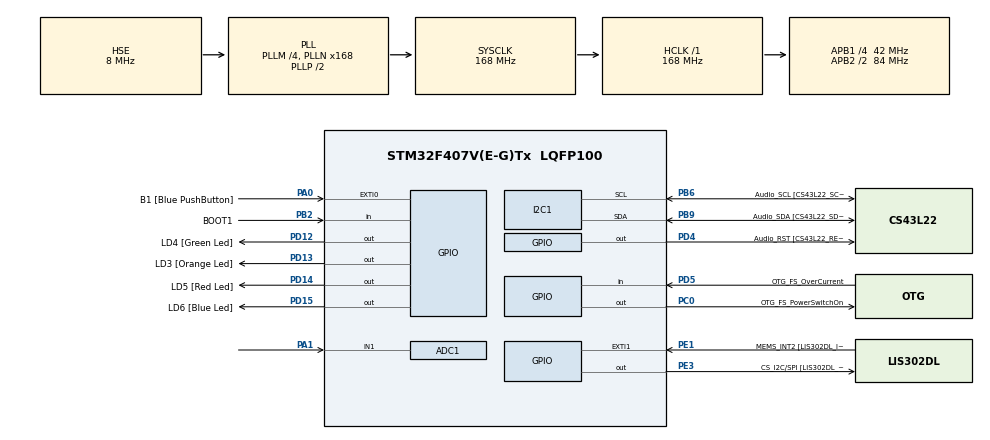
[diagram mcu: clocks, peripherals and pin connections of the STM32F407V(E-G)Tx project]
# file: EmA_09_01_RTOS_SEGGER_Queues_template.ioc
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ADC1.Channel-0\#ChannelRegularConversion=ADC_CHANNEL_1
ADC1.ContinuousConvMode=ENABLE
ADC1.EOCSelection=ADC_EOC_SEQ_CONV
ADC1.NbrOfConversionFlag=1
ADC1.Rank-0\#ChannelRegularConversion=1
ADC1.SamplingTime-0\#ChannelRegularConversion=ADC_SAMPLETIME_3CYCLES
ADC1.master=1
Mcu.Family=STM32F4
Mcu.Name=STM32F407V(E-G)Tx
Mcu.Package=LQFP100
NVIC.EXTI0_IRQn=true\:15\:0\:true\:false\:true\:true\:true\:true
NVIC.PriorityGroup=NVIC_PRIORITYGROUP_4
NVIC.TIM6_DAC_IRQn=true\:0\:0\:false\:false\:true\:false\:true\:true
NVIC.TimeBase=TIM6_DAC_IRQn
NVIC.TimeBaseIP=TIM6
PA0-WKUP.GPIO_Label=B1 [Blue PushButton]
PA0-WKUP.GPIO_ModeDefaultEXTI=GPIO_MODE_IT_RISING
PA0-WKUP.GPIO_PuPd=GPIO_NOPULL
PA0-WKUP.Signal=GPXTI0
PA1.Signal=ADCx_IN1
PA10.GPIO_Label=OTG_FS_ID
PA10.GPIO_Mode=GPIO_MODE_AF_PP
PA10.GPIO_PuPd=GPIO_NOPULL
PA10.GPIO_Speed=GPIO_SPEED_FREQ_LOW
PA10.Signal=USB_OTG_FS_ID
PA11.GPIO_Label=OTG_FS_DM
PA11.GPIO_Mode=GPIO_MODE_AF_PP
PA11.GPIO_PuPd=GPIO_NOPULL
PA11.GPIO_Speed=GPIO_SPEED_FREQ_LOW
PA11.Signal=USB_OTG_FS_DM
PA12.GPIO_Label=OTG_FS_DP
PA12.GPIO_Mode=GPIO_MODE_AF_PP
PA12.GPIO_PuPd=GPIO_NOPULL
PA12.GPIO_Speed=GPIO_SPEED_FREQ_LOW
PA12.Signal=USB_OTG_FS_DP
PA13.GPIO_Label=SWDIO
PA13.Mode=Serial_Wire
PA13.Signal=SYS_JTMS-SWDIO
PA14.GPIO_Label=SWCLK
PA14.Mode=Serial_Wire
PA14.Signal=SYS_JTCK-SWCLK
PA4.GPIO_Label=I2S3_WS [CS43L22_LRCK]
PA4.GPIO_Mode=GPIO_MODE_AF_PP
PA4.GPIO_PuPd=GPIO_NOPULL
PA4.GPIO_Speed=GPIO_SPEED_FREQ_LOW
PA4.Signal=I2S3_WS
PA5.GPIO_Label=SPI1_SCK [LIS302DL_SCL/SPC]
PA5.GPIO_Mode=GPIO_MODE_AF_PP
PA5.GPIO_PuPd=GPIO_NOPULL
PA5.GPIO_Speed=GPIO_SPEED_FREQ_LOW
PA5.Signal=SPI1_SCK
PA6.GPIO_Label=SPI1_MISO [LIS302DL_SDO]
PA6.GPIO_Mode=GPIO_MODE_AF_PP
PA6.GPIO_PuPd=GPIO_NOPULL
PA6.GPIO_Speed=GPIO_SPEED_FREQ_LOW
PA6.Signal=SPI1_MISO
PA7.GPIO_Label=SPI1_MOSI [LIS302DL_SDA/SDI/SDO]
PA7.GPIO_Mode=GPIO_MODE_AF_PP
PA7.GPIO_PuPd=GPIO_NOPULL
PA7.GPIO_Speed=GPIO_SPEED_FREQ_LOW
PA7.Signal=SPI1_MOSI
PA9.GPIO_Label=VBUS_FS
PA9.GPIO_Mode=GPIO_MODE_INPUT
PA9.GPIO_PuPd=GPIO_NOPULL
PA9.Signal=USB_OTG_FS_VBUS
PB10.GPIO_Label=CLK_IN [MP45DT02_CLK]
PB10.GPIO_Mode=GPIO_MODE_AF_PP
PB10.GPIO_PuPd=GPIO_NOPULL
PB10.GPIO_Speed=GPIO_SPEED_FREQ_LOW
PB10.Signal=I2S2_CK
PB2.GPIO_Label=BOOT1
PB2.GPIO_Mode=GPIO_MODE_INPUT
PB2.GPIO_PuPd=GPIO_NOPULL
PB2.Signal=GPIO_Input
PB3.GPIO_Label=SWO
PB3.Signal=SYS_JTDO-SWO
PB6.GPIO_Label=Audio_SCL [CS43L22_SCL]
PB6.GPIO_Mode=GPIO_MODE_AF_OD
PB6.GPIO_Pu=GPIO_PULLUP
PB6.GPIO_PuPd=GPIO_NOPULL
PB6.GPIO_Speed=GPIO_SPEED_FREQ_LOW
PB6.Mode=I2C
PB6.Signal=I2C1_SCL
PB9.GPIO_Label=Audio_SDA [CS43L22_SDA]
PB9.GPIO_Mode=GPIO_MODE_AF_OD
PB9.GPIO_Pu=GPIO_PULLUP
PB9.GPIO_PuPd=GPIO_NOPULL
PB9.GPIO_Speed=GPIO_SPEED_FREQ_LOW
PB9.Mode=I2C
PB9.Signal=I2C1_SDA
PC0.GPIO_Label=OTG_FS_PowerSwitchOn
PC0.GPIO_PuPd=GPIO_NOPULL
PC0.GPIO_Speed=GPIO_SPEED_FREQ_LOW
PC0.PinState=GPIO_PIN_SET
PC0.Signal=GPIO_Output
PC10.GPIO_Label=I2S3_SCK [CS43L22_SCLK]
PC10.GPIO_Mode=GPIO_MODE_AF_PP
PC10.GPIO_PuPd=GPIO_NOPULL
PC10.GPIO_Speed=GPIO_SPEED_FREQ_LOW
PC10.Signal=I2S3_CK
PC12.GPIO_Label=I2S3_SD [CS43L22_SDIN]
PC12.GPIO_Mode=GPIO_MODE_AF_PP
PC12.GPIO_PuPd=GPIO_NOPULL
PC12.GPIO_Speed=GPIO_SPEED_FREQ_LOW
PC12.Signal=I2S3_SD
PC14-OSC32_IN.GPIO_Label=PC14-OSC32_IN
PC14-OSC32_IN.Mode=LSE-External-Oscillator
PC14-OSC32_IN.Signal=RCC_OSC32_IN
PC15-OSC32_OUT.GPIO_Label=PC15-OSC32_OUT
PC15-OSC32_OUT.Mode=LSE-External-Oscillator
PC15-OSC32_OUT.Signal=RCC_OSC32_OUT
PC3.GPIO_Label=PDM_OUT [MP45DT02_DOUT]
PC3.GPIO_Mode=GPIO_MODE_AF_PP
PC3.GPIO_PuPd=GPIO_NOPULL
PC3.GPIO_Speed=GPIO_SPEED_FREQ_LOW
PC3.Signal=I2S2_SD
PC7.GPIO_Label=I2S3_MCK [CS43L22_MCLK]
PC7.GPIO_Mode=GPIO_MODE_AF_PP
PC7.GPIO_PuPd=GPIO_NOPULL
PC7.GPIO_Speed=GPIO_SPEED_FREQ_LOW
PC7.Signal=I2S3_MCK
PD12.GPIO_Label=LD4 [Green Led]
PD12.GPIO_PuPd=GPIO_NOPULL
PD12.GPIO_Speed=GPIO_SPEED_FREQ_LOW
PD12.Signal=GPIO_Output
PD13.GPIO_Label=LD3 [Orange Led]
PD13.GPIO_PuPd=GPIO_NOPULL
PD13.GPIO_Speed=GPIO_SPEED_FREQ_LOW
PD13.Signal=GPIO_Output
PD14.GPIO_Label=LD5 [Red Led]
PD14.GPIO_PuPd=GPIO_NOPULL
PD14.GPIO_Speed=GPIO_SPEED_FREQ_LOW
PD14.Signal=GPIO_Output
PD15.GPIO_Label=LD6 [Blue Led]
PD15.GPIO_PuPd=GPIO_NOPULL
PD15.GPIO_Speed=GPIO_SPEED_FREQ_LOW
PD15.Signal=GPIO_Output
PD4.GPIO_Label=Audio_RST [CS43L22_RESET]
PD4.GPIO_PuPd=GPIO_NOPULL
PD4.GPIO_Speed=GPIO_SPEED_FREQ_LOW
PD4.Signal=GPIO_Output
PD5.GPIO_Label=OTG_FS_OverCurrent
PD5.GPIO_Mode=GPIO_MODE_INPUT
PD5.GPIO_PuPd=GPIO_NOPULL
PD5.Signal=GPIO_Input
PE1.GPIO_Label=MEMS_INT2 [LIS302DL_INT2]
PE1.GPIO_ModeDefaultEXTI=GPIO_MODE_EVT_RISING
PE1.GPIO_PuPd=GPIO_NOPULL
PE1.Signal=GPXTI1
PE3.GPIO_Label=CS_I2C/SPI [LIS302DL_CS_I2C/SPI]
PE3.GPIO_PuPd=GPIO_NOPULL
PE3.GPIO_Speed=GPIO_SPEED_FREQ_LOW
PE3.Signal=GPIO_Output
PH0-OSC_IN.GPIO_Label=PH0-OSC_IN
PH0-OSC_IN.Mode=HSE-External-Oscillator
PH0-OSC_IN.Signal=RCC_OSC_IN
PH1-OSC_OUT.GPIO_Label=PH1-OSC_OUT
PH1-OSC_OUT.Mode=HSE-External-Oscillator
PH1-OSC_OUT.Signal=RCC_OSC_OUT
ProjectManager.HeapSize=0x200
ProjectManager.StackSize=0x400
ProjectManager.TargetToolchain=STM32CubeIDE
RCC.48MHZClocksFreq_Value=48000000
RCC.AHBFreq_Value=168000000
RCC.APB1CLKDivider=RCC_HCLK_DIV4
RCC.APB1Freq_Value=42000000
RCC.APB1TimFreq_Value=84000000
RCC.APB2CLKDivider=RCC_HCLK_DIV2
RCC.APB2Freq_Value=84000000
RCC.APB2TimFreq_Value=168000000
RCC.CortexFreq_Value=168000000
RCC.HCLKFreq_Value=168000000
RCC.HSE_VALUE=8000000
RCC.HSI_VALUE=16000000
RCC.PLLI2SN=50
RCC.PLLM=4
RCC.PLLN=168
RCC.PLLQ=7
RCC.PLLSourceVirtual=RCC_PLLSOURCE_HSE
RCC.SYSCLKFreq_VALUE=168000000
RCC.SYSCLKSource=RCC_SYSCLKSOURCE_PLLCLK
RCC.VCOOutputFreq_Value=336000000
SH.ADCx_IN1.0=ADC1_IN1,IN1
VP_SYS_VS_tim6.Mode=TIM6
board=STM32F407G-DISC1

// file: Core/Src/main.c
/* USER CODE BEGIN Header */
/**
 ******************************************************************************
 * @file           : main.c
 * @brief          : Main program body
 ******************************************************************************
 * @attention
 *
 * <h2><center>&copy; Copyright (c) 2021 STMicroelectronics.
 * All rights reserved.</center></h2>
 *
 * This software component is licensed by ST under Ultimate Liberty license
 * SLA0044, the "License"; You may not use this file except in compliance with
 * the License. You may obtain a copy of the License at:
 *                             www.st.com/SLA0044
 *
 ******************************************************************************
 */
/* USER CODE END Header */
#include "main.h"

/* USER CODE BEGIN Includes */
#include "FreeRTOS.h"
#include "task.h"
#include "stdio.h"
/* USER CODE END Includes */

 ADC_HandleTypeDef hadc1;

I2C_HandleTypeDef hi2c1;

/* USER CODE BEGIN PV */
#define DWT_CTRL	(*(volatile uint32_t*) 0xE0001000)
LCD_Handle_t lcd_handle;
TaskHandle_t measure_task_handle;
TaskHandle_t process_task_handle;
TaskHandle_t print_task_handle;
TaskHandle_t control_task_handle;
QueueHandle_t xQueue1;
QueueHandle_t xQueue_print;
/* USER CODE END PV */

void SystemClock_Config(void);
static void MX_GPIO_Init(void);
static void MX_I2C1_Init(void);
static void MX_ADC1_Init(void);
/* USER CODE BEGIN PFP */
extern void SEGGER_UART_init(unsigned long baud);
/* USER CODE END PFP */

int main(void)
{
  /* USER CODE BEGIN 1 */

	BaseType_t status;
  /* USER CODE END 1 */

  /* MCU Configuration--------------------------------------------------------*/

  /* Reset of all peripherals, Initializes the Flash interface and the Systick. */
  HAL_Init();

  /* USER CODE BEGIN Init */
  xQueue1 = xQueueCreate( 10, sizeof( unsigned long ) );
  xQueue_print = xQueueCreate( 1, sizeof( char* ) );
  /* USER CODE END Init */

  /* Configure the system clock */
  SystemClock_Config();

  /* Initialize all configured peripherals */
  MX_GPIO_Init();
  MX_I2C1_Init();
  MX_ADC1_Init();
  /* USER CODE BEGIN 2 */

	lcd_handle.Slave_address = 0x4E;
	lcd_handle.i2c_handle = &hi2c1;
	lcd_handle.bg = 1;
	lcd_init(&lcd_handle);

	char* text = "Willkommen in Embedded Software!\0";
	uint32_t delayValue = 10;
	printText(&lcd_handle, text, delayValue);
	delayValue = 10;

	DWT_CTRL |= (1 << 0);

	//SEGGER_UART_init(460800);
	SEGGER_SYSVIEW_Conf();
	SEGGER_SYSVIEW_Start();

	status = xTaskCreate(measure_task_Handler,"Task-Measure",200, "Measure Task", 1, &measure_task_handle);
	configASSERT(status==pdPASS);

	status = xTaskCreate(process_task_Handler,"Task-Process",200, "Process measurements", 1, &process_task_handle);
	configASSERT(status==pdPASS);

	status = xTaskCreate(print_task_Handler,"Task-Print",200, "Print on display", 3, &print_task_handle);
	configASSERT(status==pdPASS);

	status = xTaskCreate(control_task_Handler,"Task-Control",200, NULL, 2, &control_task_handle);
	configASSERT(status==pdPASS);

	vTaskStartScheduler();
  /* USER CODE END 2 */

  /* Infinite loop */
	while (1)
	{

	}
}

void SystemClock_Config(void)
{
  RCC_OscInitTypeDef RCC_OscInitStruct = {0};
  RCC_ClkInitTypeDef RCC_ClkInitStruct = {0};

  /** Configure the main internal regulator output voltage
  */
  __HAL_RCC_PWR_CLK_ENABLE();
  __HAL_PWR_VOLTAGESCALING_CONFIG(PWR_REGULATOR_VOLTAGE_SCALE1);

  /** Initializes the RCC Oscillators according to the specified parameters
  * in the RCC_OscInitTypeDef structure.
  */
  RCC_OscInitStruct.OscillatorType = RCC_OSCILLATORTYPE_HSE;
  RCC_OscInitStruct.HSEState = RCC_HSE_ON;
  RCC_OscInitStruct.PLL.PLLState = RCC_PLL_ON;
  RCC_OscInitStruct.PLL.PLLSource = RCC_PLLSOURCE_HSE;
  RCC_OscInitStruct.PLL.PLLM = 4;
  RCC_OscInitStruct.PLL.PLLN = 168;
  RCC_OscInitStruct.PLL.PLLP = RCC_PLLP_DIV2;
  RCC_OscInitStruct.PLL.PLLQ = 7;
  if (HAL_RCC_OscConfig(&RCC_OscInitStruct) != HAL_OK)
  {
    Error_Handler();
  }

  /** Initializes the CPU, AHB and APB buses clocks
  */
  RCC_ClkInitStruct.ClockType = RCC_CLOCKTYPE_HCLK|RCC_CLOCKTYPE_SYSCLK
                              |RCC_CLOCKTYPE_PCLK1|RCC_CLOCKTYPE_PCLK2;
  RCC_ClkInitStruct.SYSCLKSource = RCC_SYSCLKSOURCE_PLLCLK;
  RCC_ClkInitStruct.AHBCLKDivider = RCC_SYSCLK_DIV1;
  RCC_ClkInitStruct.APB1CLKDivider = RCC_HCLK_DIV4;
  RCC_ClkInitStruct.APB2CLKDivider = RCC_HCLK_DIV2;

  if (HAL_RCC_ClockConfig(&RCC_ClkInitStruct, FLASH_LATENCY_5) != HAL_OK)
  {
    Error_Handler();
  }
}

static void MX_ADC1_Init(void)
{

  ADC_ChannelConfTypeDef sConfig = {0};

  /** Configure the global features of the ADC (Clock, Resolution, Data Alignment and number of conversion)
  */
  hadc1.Instance = ADC1;
  hadc1.Init.ClockPrescaler = ADC_CLOCK_SYNC_PCLK_DIV4;
  hadc1.Init.Resolution = ADC_RESOLUTION_12B;
  hadc1.Init.ScanConvMode = DISABLE;
  hadc1.Init.ContinuousConvMode = ENABLE;
  hadc1.Init.DiscontinuousConvMode = DISABLE;
  hadc1.Init.ExternalTrigConvEdge = ADC_EXTERNALTRIGCONVEDGE_NONE;
  hadc1.Init.ExternalTrigConv = ADC_SOFTWARE_START;
  hadc1.Init.DataAlign = ADC_DATAALIGN_RIGHT;
  hadc1.Init.NbrOfConversion = 1;
  hadc1.Init.DMAContinuousRequests = DISABLE;
  hadc1.Init.EOCSelection = ADC_EOC_SEQ_CONV;
  if (HAL_ADC_Init(&hadc1) != HAL_OK)
  {
    Error_Handler();
  }

  /** Configure for the selected ADC regular channel its corresponding rank in the sequencer and its sample time.
  */
  sConfig.Channel = ADC_CHANNEL_1;
  sConfig.Rank = 1;
  sConfig.SamplingTime = ADC_SAMPLETIME_3CYCLES;
  if (HAL_ADC_ConfigChannel(&hadc1, &sConfig) != HAL_OK)
  {
    Error_Handler();
  }

}

static void MX_I2C1_Init(void)
{

  hi2c1.Instance = I2C1;
  hi2c1.Init.ClockSpeed = 100000;
  hi2c1.Init.DutyCycle = I2C_DUTYCYCLE_2;
  hi2c1.Init.OwnAddress1 = 0;
  hi2c1.Init.AddressingMode = I2C_ADDRESSINGMODE_7BIT;
  hi2c1.Init.DualAddressMode = I2C_DUALADDRESS_DISABLE;
  hi2c1.Init.OwnAddress2 = 0;
  hi2c1.Init.GeneralCallMode = I2C_GENERALCALL_DISABLE;
  hi2c1.Init.NoStretchMode = I2C_NOSTRETCH_DISABLE;
  if (HAL_I2C_Init(&hi2c1) != HAL_OK)
  {
    Error_Handler();
  }

}

static void MX_GPIO_Init(void)
{
  GPIO_InitTypeDef GPIO_InitStruct = {0};

  /* GPIO Ports Clock Enable */
  __HAL_RCC_GPIOE_CLK_ENABLE();
  __HAL_RCC_GPIOC_CLK_ENABLE();
  __HAL_RCC_GPIOH_CLK_ENABLE();
  __HAL_RCC_GPIOA_CLK_ENABLE();
  __HAL_RCC_GPIOB_CLK_ENABLE();
  __HAL_RCC_GPIOD_CLK_ENABLE();

  /*Configure GPIO pin Output Level */
  HAL_GPIO_WritePin(CS_I2C_SPI_GPIO_Port, CS_I2C_SPI_Pin, GPIO_PIN_RESET);

  /*Configure GPIO pin Output Level */
  HAL_GPIO_WritePin(OTG_FS_PowerSwitchOn_GPIO_Port, OTG_FS_PowerSwitchOn_Pin, GPIO_PIN_SET);

  /*Configure GPIO pin Output Level */
  HAL_GPIO_WritePin(GPIOD, LD4_Pin|LD3_Pin|LD5_Pin|LD6_Pin
                          |Audio_RST_Pin, GPIO_PIN_RESET);

  /*Configure GPIO pin : CS_I2C_SPI_Pin */
  GPIO_InitStruct.Pin = CS_I2C_SPI_Pin;
  GPIO_InitStruct.Mode = GPIO_MODE_OUTPUT_PP;
  GPIO_InitStruct.Pull = GPIO_NOPULL;
  GPIO_InitStruct.Speed = GPIO_SPEED_FREQ_LOW;
  HAL_GPIO_Init(CS_I2C_SPI_GPIO_Port, &GPIO_InitStruct);

  /*Configure GPIO pin : OTG_FS_PowerSwitchOn_Pin */
  GPIO_InitStruct.Pin = OTG_FS_PowerSwitchOn_Pin;
  GPIO_InitStruct.Mode = GPIO_MODE_OUTPUT_PP;
  GPIO_InitStruct.Pull = GPIO_NOPULL;
  GPIO_InitStruct.Speed = GPIO_SPEED_FREQ_LOW;
  HAL_GPIO_Init(OTG_FS_PowerSwitchOn_GPIO_Port, &GPIO_InitStruct);

  /*Configure GPIO pin : PDM_OUT_Pin */
  GPIO_InitStruct.Pin = PDM_OUT_Pin;
  GPIO_InitStruct.Mode = GPIO_MODE_AF_PP;
  GPIO_InitStruct.Pull = GPIO_NOPULL;
  GPIO_InitStruct.Speed = GPIO_SPEED_FREQ_LOW;
  GPIO_InitStruct.Alternate = GPIO_AF5_SPI2;
  HAL_GPIO_Init(PDM_OUT_GPIO_Port, &GPIO_InitStruct);

  /*Configure GPIO pin : B1_Pin */
  GPIO_InitStruct.Pin = B1_Pin;
  GPIO_InitStruct.Mode = GPIO_MODE_IT_RISING;
  GPIO_InitStruct.Pull = GPIO_NOPULL;
  HAL_GPIO_Init(B1_GPIO_Port, &GPIO_InitStruct);

  /*Configure GPIO pin : I2S3_WS_Pin */
  GPIO_InitStruct.Pin = I2S3_WS_Pin;
  GPIO_InitStruct.Mode = GPIO_MODE_AF_PP;
  GPIO_InitStruct.Pull = GPIO_NOPULL;
  GPIO_InitStruct.Speed = GPIO_SPEED_FREQ_LOW;
  GPIO_InitStruct.Alternate = GPIO_AF6_SPI3;
  HAL_GPIO_Init(I2S3_WS_GPIO_Port, &GPIO_InitStruct);

  /*Configure GPIO pins : SPI1_SCK_Pin SPI1_MISO_Pin SPI1_MOSI_Pin */
  GPIO_InitStruct.Pin = SPI1_SCK_Pin|SPI1_MISO_Pin|SPI1_MOSI_Pin;
  GPIO_InitStruct.Mode = GPIO_MODE_AF_PP;
  GPIO_InitStruct.Pull = GPIO_NOPULL;
  GPIO_InitStruct.Speed = GPIO_SPEED_FREQ_LOW;
  GPIO_InitStruct.Alternate = GPIO_AF5_SPI1;
  HAL_GPIO_Init(GPIOA, &GPIO_InitStruct);

  /*Configure GPIO pin : BOOT1_Pin */
  GPIO_InitStruct.Pin = BOOT1_Pin;
  GPIO_InitStruct.Mode = GPIO_MODE_INPUT;
  GPIO_InitStruct.Pull = GPIO_NOPULL;
  HAL_GPIO_Init(BOOT1_GPIO_Port, &GPIO_InitStruct);

  /*Configure GPIO pin : CLK_IN_Pin */
  GPIO_InitStruct.Pin = CLK_IN_Pin;
  GPIO_InitStruct.Mode = GPIO_MODE_AF_PP;
  GPIO_InitStruct.Pull = GPIO_NOPULL;
  GPIO_InitStruct.Speed = GPIO_SPEED_FREQ_LOW;
  GPIO_InitStruct.Alternate = GPIO_AF5_SPI2;
  HAL_GPIO_Init(CLK_IN_GPIO_Port, &GPIO_InitStruct);

  /*Configure GPIO pins : LD4_Pin LD3_Pin LD5_Pin LD6_Pin
                           Audio_RST_Pin */
  GPIO_InitStruct.Pin = LD4_Pin|LD3_Pin|LD5_Pin|LD6_Pin
                          |Audio_RST_Pin;
  GPIO_InitStruct.Mode = GPIO_MODE_OUTPUT_PP;
  GPIO_InitStruct.Pull = GPIO_NOPULL;
  GPIO_InitStruct.Speed = GPIO_SPEED_FREQ_LOW;
  HAL_GPIO_Init(GPIOD, &GPIO_InitStruct);

  /*Configure GPIO pins : I2S3_MCK_Pin I2S3_SCK_Pin I2S3_SD_Pin */
  GPIO_InitStruct.Pin = I2S3_MCK_Pin|I2S3_SCK_Pin|I2S3_SD_Pin;
  GPIO_InitStruct.Mode = GPIO_MODE_AF_PP;
  GPIO_InitStruct.Pull = GPIO_NOPULL;
  GPIO_InitStruct.Speed = GPIO_SPEED_FREQ_LOW;
  GPIO_InitStruct.Alternate = GPIO_AF6_SPI3;
  HAL_GPIO_Init(GPIOC, &GPIO_InitStruct);

  /*Configure GPIO pin : VBUS_FS_Pin */
  GPIO_InitStruct.Pin = VBUS_FS_Pin;
  GPIO_InitStruct.Mode = GPIO_MODE_INPUT;
  GPIO_InitStruct.Pull = GPIO_NOPULL;
  HAL_GPIO_Init(VBUS_FS_GPIO_Port, &GPIO_InitStruct);

  /*Configure GPIO pins : OTG_FS_ID_Pin OTG_FS_DM_Pin OTG_FS_DP_Pin */
  GPIO_InitStruct.Pin = OTG_FS_ID_Pin|OTG_FS_DM_Pin|OTG_FS_DP_Pin;
  GPIO_InitStruct.Mode = GPIO_MODE_AF_PP;
  GPIO_InitStruct.Pull = GPIO_NOPULL;
  GPIO_InitStruct.Speed = GPIO_SPEED_FREQ_LOW;
  GPIO_InitStruct.Alternate = GPIO_AF10_OTG_FS;
  HAL_GPIO_Init(GPIOA, &GPIO_InitStruct);

  /*Configure GPIO pin : OTG_FS_OverCurrent_Pin */
  GPIO_InitStruct.Pin = OTG_FS_OverCurrent_Pin;
  GPIO_InitStruct.Mode = GPIO_MODE_INPUT;
  GPIO_InitStruct.Pull = GPIO_NOPULL;
  HAL_GPIO_Init(OTG_FS_OverCurrent_GPIO_Port, &GPIO_InitStruct);

  /*Configure GPIO pin : MEMS_INT2_Pin */
  GPIO_InitStruct.Pin = MEMS_INT2_Pin;
  GPIO_InitStruct.Mode = GPIO_MODE_EVT_RISING;
  GPIO_InitStruct.Pull = GPIO_NOPULL;
  HAL_GPIO_Init(MEMS_INT2_GPIO_Port, &GPIO_InitStruct);

  /* EXTI interrupt init*/
  HAL_NVIC_SetPriority(EXTI0_IRQn, 15, 0);
  HAL_NVIC_EnableIRQ(EXTI0_IRQn);

}

void HAL_TIM_PeriodElapsedCallback(TIM_HandleTypeDef *htim)
{
  if (htim->Instance == TIM6) {
    HAL_IncTick();
  }
}

void Error_Handler(void)
{
	__disable_irq();
	while (1)
	{
	}
}
